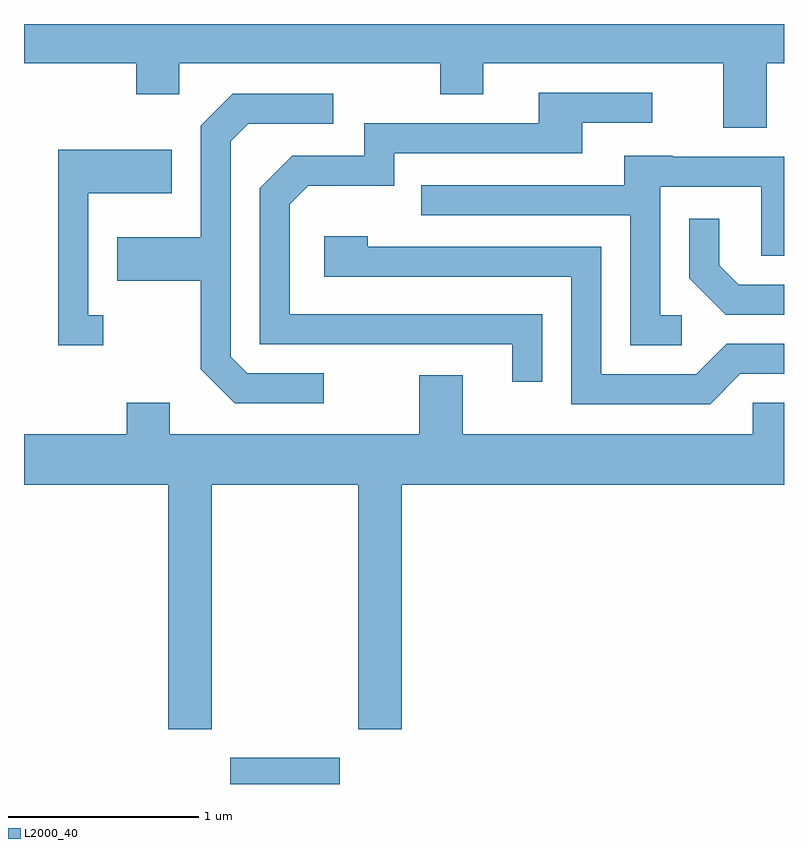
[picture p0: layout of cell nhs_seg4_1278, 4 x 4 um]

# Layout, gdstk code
import gdstk
lib = gdstk.Library(unit=1e-6, precision=1e-09)
def R(c, l, rs):  # rectangles x0, y0, x1, y1
    for r in rs: c.add(gdstk.rectangle(r[:2], r[2:], *l))
def P(c, l, *ps):  # polygons
    for p in ps: c.add(gdstk.Polygon(p, *l))
L2000_40 = (2000, 40)

nhs_seg4_1278 = lib.new_cell('nhs_seg4_1278')
R(nhs_seg4_1278, L2000_40, [(222.696,1361.982,223.274,1362.119)])
P(nhs_seg4_1278, L2000_40, [(225.519,1365.776),(225.611,1365.776),(225.611,1365.982),(221.611,1365.982),(221.611,1365.776),(222.201,1365.776),(222.201,1365.611),(222.429,1365.611),(222.429,1365.776),(223.801,1365.776),(223.801,1365.611),(224.029,1365.611),(224.029,1365.776),(225.291,1365.776),(225.291,1365.436),(225.519,1365.436)],
  [(224.339,1364.454),(223.009,1364.454),(223.009,1365.034),(223.107,1365.131),(223.559,1365.131),(223.559,1365.301),(224.549,1365.301),(224.549,1365.461),(224.918,1365.461),(224.918,1365.619),(224.321,1365.619),(224.321,1365.459),(223.401,1365.459),(223.401,1365.289),(223.024,1365.289),(222.851,1365.117),(222.851,1364.296),(224.181,1364.296),(224.181,1364.098),(224.339,1364.098)],
  [(223.188,1364.144),(222.787,1364.144),(222.699,1364.232),(222.699,1365.364),(222.792,1365.456),(223.238,1365.456),(223.238,1365.614),(222.709,1365.614),(222.541,1365.447),(222.541,1364.859),(222.101,1364.859),(222.101,1364.631),(222.541,1364.631),(222.541,1364.164),(222.719,1363.986),(223.188,1363.986)],
  [(222.028,1364.449),(221.949,1364.449),(221.949,1365.091),(222.389,1365.091),(222.389,1365.319),(221.791,1365.319),(221.791,1364.291),(222.028,1364.291)],
  [(225.073,1364.449),(224.959,1364.449),(224.959,1365.126),(225.491,1365.126),(225.491,1364.761),(225.611,1364.761),(225.611,1365.284),(225.025,1365.284),(225.025,1365.289),(224.771,1365.289),(224.771,1365.134),(223.703,1365.134),(223.703,1364.976),(224.801,1364.976),(224.801,1364.291),(225.073,1364.291)],
  [(225.611,1364.609),(225.372,1364.609),(225.269,1364.712),(225.269,1364.958),(225.111,1364.958),(225.111,1364.644),(225.304,1364.451),(225.611,1364.451)],
  [(225.382,1364.141),(225.611,1364.141),(225.611,1364.299),(225.309,1364.299),(225.149,1364.139),(224.649,1364.139),(224.649,1364.809),(223.419,1364.809),(223.419,1364.864),(223.191,1364.864),(223.191,1364.651),(224.491,1364.651),(224.491,1363.981),(225.222,1363.981)],
  [(222.599,1363.556),(223.371,1363.556),(223.371,1362.271),(223.599,1362.271),(223.599,1363.556),(225.611,1363.556),(225.611,1363.989),(225.446,1363.989),(225.446,1363.824),(223.919,1363.824),(223.919,1364.134),(223.691,1364.134),(223.691,1363.824),(222.379,1363.824),(222.379,1363.989),(222.151,1363.989),(222.151,1363.824),(221.611,1363.824),(221.611,1363.556),(222.371,1363.556),(222.371,1362.271),(222.599,1362.271)])

lib.write_gds('nhs_seg4_1278.gds')
